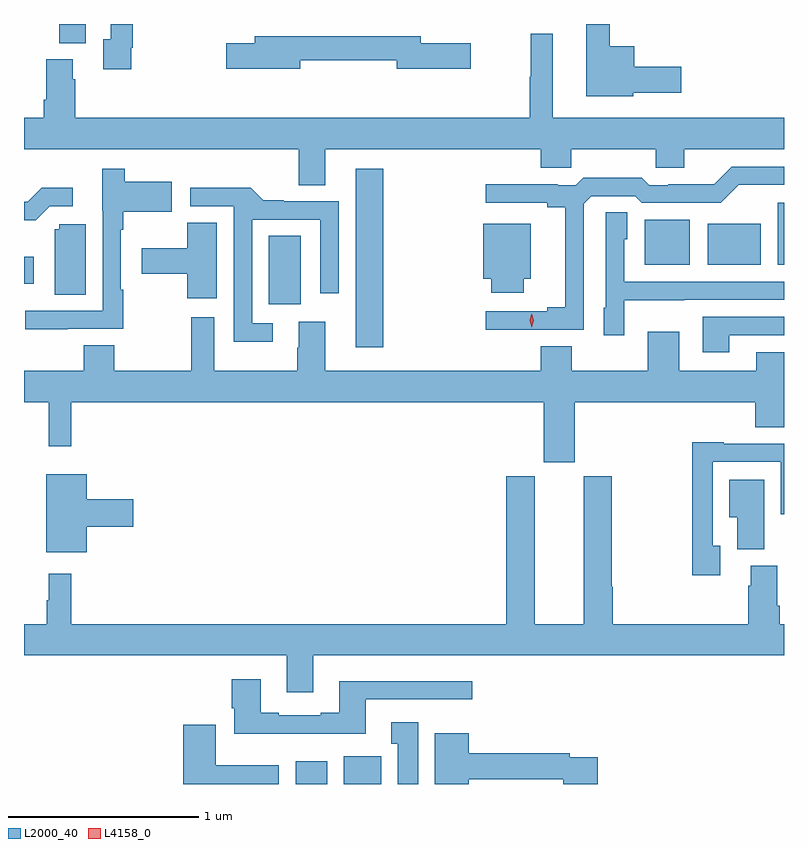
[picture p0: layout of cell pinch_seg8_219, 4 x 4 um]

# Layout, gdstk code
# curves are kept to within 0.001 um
import gdstk
lib = gdstk.Library(unit=1e-6, precision=1e-09)
def R(c, l, rs):  # rectangles x0, y0, x1, y1
    for r in rs: c.add(gdstk.rectangle(r[:2], r[2:], *l))
def P(c, l, *ps):  # polygons
    for p in ps: c.add(gdstk.Polygon(p, *l))
L2000_40 = (2000, 40)
L4158_0 = (4158, 0)

pinch_seg8_219 = lib.new_cell('pinch_seg8_219')
R(pinch_seg8_219, L2000_40, [(659.429,1118.486,659.596,1118.605), (659.681,1118.486,659.878,1118.632), (659.744,1120.785,659.891,1121.725), (659.288,1121.01,659.455,1121.372), (657.999,1121.12,658.051,1121.26), (661.265,1121.219,661.504,1121.455), (661.598,1121.219,661.876,1121.434), (661.965,1121.22,661.999,1121.545), (658.184,1122.385,658.324,1122.486)])
P(pinch_seg8_219, L2000_40, [(661.206,1122.125),(661.459,1122.125),(661.459,1122.26),(661.21,1122.26),(661.21,1122.37),(661.081,1122.37),(661.081,1122.486),(660.959,1122.486),(660.959,1122.107),(661.206,1122.107)],
  [(658.564,1122.361),(658.571,1122.361),(658.571,1122.486),(658.455,1122.486),(658.455,1122.405),(658.415,1122.405),(658.415,1122.249),(658.564,1122.249)],
  [(659.584,1121.828),(660.719,1121.828),(660.719,1121.73),(660.879,1121.73),(660.879,1121.828),(661.324,1121.828),(661.324,1121.73),(661.474,1121.73),(661.474,1121.828),(661.999,1121.828),(661.999,1121.992),(660.781,1121.992),(660.781,1122.436),(660.667,1122.436),(660.667,1122.209),(660.66,1122.209),(660.66,1121.992),(658.268,1121.992),(658.268,1122.194),(658.255,1122.194),(658.255,1122.3),(658.115,1122.3),(658.115,1122.088),(658.103,1122.088),(658.103,1121.992),(657.999,1121.992),(657.999,1121.828),(659.444,1121.828),(659.444,1121.638),(659.584,1121.638)],
  [(659.452,1122.294),(659.96,1122.294),(659.96,1122.251),(660.349,1122.251),(660.349,1122.386),(660.088,1122.386),(660.088,1122.422),(659.213,1122.422),(659.213,1122.386),(659.064,1122.386),(659.064,1122.251),(659.452,1122.251)],
  [(660.945,1121.541),(660.984,1121.58),(661.215,1121.58),(661.251,1121.544),(661.665,1121.544),(661.76,1121.639),(661.999,1121.64),(661.999,1121.736),(661.725,1121.736),(661.631,1121.642),(661.39,1121.642),(661.39,1121.637),(661.29,1121.637),(661.251,1121.677),(660.943,1121.677),(660.903,1121.637),(660.809,1121.637),(660.809,1121.642),(660.429,1121.642),(660.429,1121.544),(660.752,1121.544),(660.752,1121.522),(660.848,1121.522),(660.848,1120.994),(660.752,1120.994),(660.752,1120.974),(660.429,1120.974),(660.429,1120.878),(660.945,1120.878)],
  [(658.229,1120.881),(658.522,1120.881),(658.522,1121.087),(658.509,1121.087),(658.509,1121.402),(658.522,1121.402),(658.522,1121.498),(658.777,1121.498),(658.777,1121.656),(658.529,1121.656),(658.529,1121.725),(658.412,1121.725),(658.412,1121.502),(658.413,1121.502),(658.413,1120.977),(658.005,1120.977),(658.005,1120.879),(658.229,1120.879)],
  [(659.308,1120.911),(659.199,1120.911),(659.199,1121.457),(659.559,1121.457),(659.559,1121.07),(659.655,1121.07),(659.655,1121.553),(659.365,1121.553),(659.365,1121.558),(659.257,1121.558),(659.192,1121.624),(658.875,1121.624),(658.875,1121.526),(659.103,1121.526),(659.103,1120.814),(659.308,1120.814)],
  [(658.134,1121.526),(658.255,1121.526),(658.255,1121.623),(658.093,1121.623),(658.02,1121.55),(657.999,1121.55),(657.999,1121.453),(658.061,1121.453)],
  [(661.158,1121.033),(661.475,1121.033),(661.475,1121.034),(661.999,1121.034),(661.999,1121.13),(661.158,1121.13),(661.158,1121.352),(661.174,1121.352),(661.174,1121.495),(661.062,1121.495),(661.062,1120.992),(661.049,1120.992),(661.049,1120.848),(661.158,1120.848)],
  [(659.014,1121.441),(658.858,1121.441),(658.858,1121.305),(658.62,1121.305),(658.62,1121.171),(658.858,1121.171),(658.858,1121.043),(659.014,1121.043)],
  [(660.628,1121.144),(660.667,1121.144),(660.667,1121.434),(660.416,1121.434),(660.416,1121.144),(660.458,1121.144),(660.458,1121.072),(660.628,1121.072)],
  [(658.324,1121.433),(658.185,1121.433),(658.185,1121.406),(658.16,1121.406),(658.16,1121.062),(658.324,1121.062)],
  [(661.711,1120.848),(661.999,1120.848),(661.999,1120.944),(661.571,1120.944),(661.571,1120.758),(661.711,1120.758)],
  [(660.898,1120.496),(661.847,1120.496),(661.847,1120.363),(661.999,1120.363),(661.999,1120.759),(661.853,1120.759),(661.853,1120.66),(661.447,1120.66),(661.447,1120.867),(661.283,1120.867),(661.283,1120.66),(660.883,1120.66),(660.883,1120.789),(660.719,1120.789),(660.719,1120.66),(659.584,1120.66),(659.584,1120.918),(659.444,1120.918),(659.444,1120.781),(659.437,1120.781),(659.437,1120.66),(658.999,1120.66),(658.999,1120.942),(658.879,1120.942),(658.879,1120.66),(658.473,1120.66),(658.473,1120.796),(658.313,1120.796),(658.313,1120.66),(657.999,1120.66),(657.999,1120.496),(658.13,1120.496),(658.13,1120.263),(658.247,1120.263),(658.247,1120.496),(660.734,1120.496),(660.734,1120.179),(660.898,1120.179)],
  [(661.663,1119.741),(661.623,1119.741),(661.623,1120.182),(661.983,1120.182),(661.983,1119.906),(661.999,1119.906),(661.999,1120.278),(661.683,1120.278),(661.683,1120.285),(661.515,1120.285),(661.515,1119.585),(661.663,1119.585)],
  [(658.33,1119.839),(658.573,1119.839),(658.573,1119.986),(658.33,1119.986),(658.33,1120.117),(658.115,1120.117),(658.115,1119.707),(658.33,1119.707)],
  [(659.521,1119.164),(661.999,1119.164),(661.999,1119.328),(661.976,1119.328),(661.976,1119.424),(661.963,1119.424),(661.963,1119.636),(661.823,1119.636),(661.823,1119.53),(661.811,1119.53),(661.811,1119.328),(661.097,1119.328),(661.097,1119.524),(661.092,1119.524),(661.092,1120.107),(660.944,1120.107),(660.944,1119.328),(660.688,1119.328),(660.688,1120.107),(660.536,1120.107),(660.536,1119.328),(658.247,1119.328),(658.247,1119.592),(658.13,1119.592),(658.13,1119.452),(658.119,1119.452),(658.119,1119.328),(657.999,1119.328),(657.999,1119.164),(659.381,1119.164),(659.381,1118.97),(659.521,1118.97)],
  [(661.894,1120.087),(661.712,1120.087),(661.712,1119.89),(661.754,1119.89),(661.754,1119.721),(661.894,1119.721)],
  [(659.797,1118.931),(660.358,1118.931),(660.358,1119.028),(659.657,1119.028),(659.657,1118.86),(659.561,1118.86),(659.561,1118.847),(659.341,1118.847),(659.341,1118.86),(659.245,1118.86),(659.245,1119.037),(659.093,1119.037),(659.093,1118.884),(659.105,1118.884),(659.105,1118.75),(659.797,1118.75)],
  [(660.073,1118.812),(659.933,1118.812),(659.933,1118.699),(659.966,1118.699),(659.966,1118.486),(660.073,1118.486)],
  [(659.341,1118.584),(659.008,1118.584),(659.008,1118.797),(658.838,1118.797),(658.838,1118.486),(659.341,1118.486)],
  [(660.34,1118.512),(660.836,1118.512),(660.836,1118.486),(661.019,1118.486),(661.019,1118.628),(660.872,1118.628),(660.872,1118.648),(660.34,1118.648),(660.34,1118.752),(660.161,1118.752),(660.161,1118.486),(660.34,1118.486)])
P(pinch_seg8_219, L4158_0, [(660.671,1120.89),(660.671,1120.89),(660.661,1120.926),(660.672,1120.962),(660.672,1120.962),(660.672,1120.962),(660.681,1120.926),(660.671,1120.89)])

lib.write_gds('pinch_seg8_219.gds')
